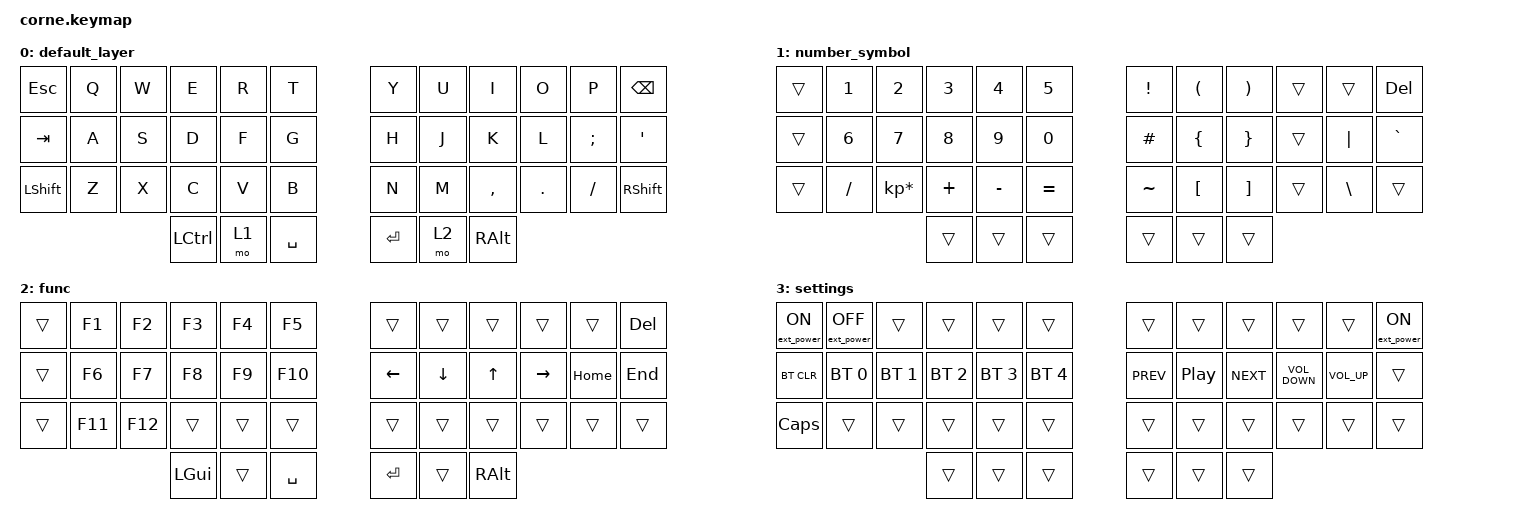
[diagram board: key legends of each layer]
/*
 * Copyright (c) 2020 The ZMK Contributors
 *
 * SPDX-License-Identifier: MIT
 */

#include <behaviors.dtsi>
#include <dt-bindings/zmk/bt.h>
#include <dt-bindings/zmk/ext_power.h>
#include <dt-bindings/zmk/keys.h>

/ {
    combos {
        compatible = "zmk,combos";

        new_combo {
            bindings = <&mo 3>;
            key-positions = <37 40>;
        };
    };

    keymap {
        compatible = "zmk,keymap";

        default_layer {
            bindings = <
&kp ESCAPE  &kp Q  &kp W  &kp E      &kp R  &kp T        &kp Y    &kp U  &kp I      &kp O    &kp P     &kp BSPC
&kp TAB     &kp A  &kp S  &kp D      &kp F  &kp G        &kp H    &kp J  &kp K      &kp L    &kp SEMI  &kp SQT
&kp LSHFT   &kp Z  &kp X  &kp C      &kp V  &kp B        &kp N    &kp M  &kp COMMA  &kp DOT  &kp FSLH  &kp RIGHT_SHIFT
                          &kp LCTRL  &mo 1  &kp SPACE    &kp RET  &mo 2  &kp RALT
            >;
        };

        number_symbol {
            bindings = <
&trans  &kp N1        &kp NUMBER_2     &kp NUMBER_3  &kp NUMBER_4  &kp NUMBER_5    &kp EXCL   &kp LEFT_PARENTHESIS  &kp RIGHT_PARENTHESIS  &trans  &trans         &kp DELETE
&trans  &kp NUMBER_6  &kp NUMBER_7     &kp NUMBER_8  &kp NUMBER_9  &kp NUMBER_0    &kp HASH   &kp LEFT_BRACE        &kp RIGHT_BRACE        &trans  &kp PIPE       &kp GRAVE
&trans  &kp SLASH     &kp KP_MULTIPLY  &kp PLUS      &kp MINUS     &kp EQUAL       &kp TILDE  &kp LEFT_BRACKET      &kp RIGHT_BRACKET      &trans  &kp BACKSLASH  &trans
                                       &trans        &trans        &trans          &trans     &trans                &trans
            >;
        };

        func {
            bindings = <
&trans  &kp F1   &kp F2   &kp F3    &kp F4  &kp F5       &trans    &trans    &trans    &trans     &trans    &kp DEL
&trans  &kp F6   &kp F7   &kp F8    &kp F9  &kp F10      &kp LEFT  &kp DOWN  &kp UP    &kp RIGHT  &kp HOME  &kp END
&trans  &kp F11  &kp F12  &trans    &trans  &trans       &trans    &trans    &trans    &trans     &trans    &trans
                          &kp LGUI  &trans  &kp SPACE    &kp RET   &trans    &kp RALT
            >;
        };

        settings {
            bindings = <
&ext_power EP_ON  &ext_power EP_OFF  &trans        &trans        &trans        &trans          &trans      &trans            &trans      &trans             &trans           &ext_power EP_ON
&bt BT_CLR        &bt BT_SEL 0       &bt BT_SEL 1  &bt BT_SEL 2  &bt BT_SEL 3  &bt BT_SEL 4    &kp C_PREV  &kp C_PLAY_PAUSE  &kp C_NEXT  &kp C_VOLUME_DOWN  &kp C_VOLUME_UP  &trans
&kp CLCK          &trans             &trans        &trans        &trans        &trans          &trans      &trans            &trans      &trans             &trans           &trans
                                                   &trans        &trans        &trans          &trans      &trans            &trans
            >;
        };
    };
};
